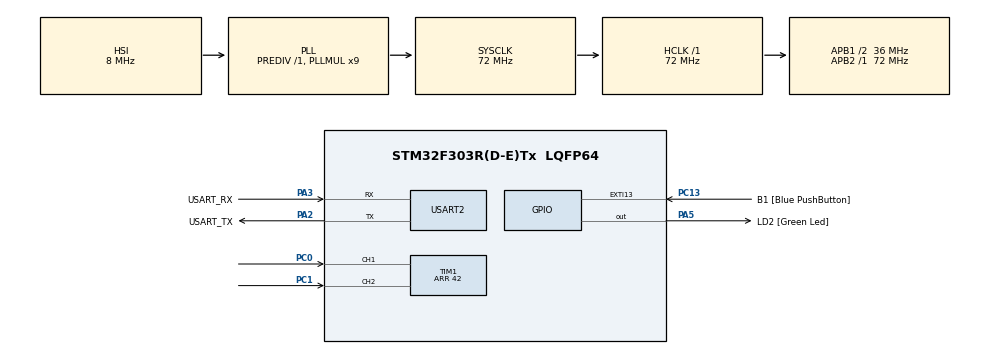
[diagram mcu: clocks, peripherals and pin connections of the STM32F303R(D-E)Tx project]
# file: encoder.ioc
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Mcu.Family=STM32F3
Mcu.Name=STM32F303R(D-E)Tx
Mcu.Package=LQFP64
NVIC.EXTI15_10_IRQn=true\:0\:0\:false\:false\:true\:true
NVIC.PriorityGroup=NVIC_PRIORITYGROUP_0
NVIC.TIM1_CC_IRQn=true\:0\:0\:false\:false\:true\:true
PA13.GPIO_Label=TMS
PA13.Mode=Serial_Wire
PA13.Signal=SYS_JTMS-SWDIO
PA14.GPIO_Label=TCK
PA14.Mode=Serial_Wire
PA14.Signal=SYS_JTCK-SWCLK
PA2.GPIO_Label=USART_TX
PA2.GPIO_Mode=GPIO_MODE_AF_PP
PA2.GPIO_PuPd=GPIO_NOPULL
PA2.GPIO_Speed=GPIO_SPEED_FREQ_LOW
PA2.Mode=Asynchronous
PA2.Signal=USART2_TX
PA3.GPIO_Label=USART_RX
PA3.GPIO_Mode=GPIO_MODE_AF_PP
PA3.GPIO_PuPd=GPIO_NOPULL
PA3.GPIO_Speed=GPIO_SPEED_FREQ_LOW
PA3.Mode=Asynchronous
PA3.Signal=USART2_RX
PA5.GPIO_Label=LD2 [Green Led]
PA5.GPIO_Mode=GPIO_MODE_OUTPUT_PP
PA5.GPIO_PuPd=GPIO_NOPULL
PA5.GPIO_Speed=GPIO_SPEED_FREQ_LOW
PA5.Signal=GPIO_Output
PB3.GPIO_Label=SWO
PB3.Signal=SYS_JTDO-TRACESWO
PC0.GPIO_PuPd=GPIO_PULLUP
PC0.Signal=S_TIM1_CH1
PC1.GPIO_PuPd=GPIO_PULLUP
PC1.Signal=S_TIM1_CH2
PC13.GPIO_Label=B1 [Blue PushButton]
PC13.GPIO_ModeDefaultEXTI=GPIO_MODE_IT_FALLING
PC13.Signal=GPXTI13
PC14-OSC32_IN.Mode=LSE-External-Oscillator
PC14-OSC32_IN.Signal=RCC_OSC32_IN
PC15-OSC32_OUT.Mode=LSE-External-Oscillator
PC15-OSC32_OUT.Signal=RCC_OSC32_OUT
PF0-OSC_IN.Mode=HSE-External-Clock-Source
PF0-OSC_IN.Signal=RCC_OSC_IN
PF1-OSC_OUT.Signal=RCC_OSC_OUT
ProjectManager.HeapSize=0x200
ProjectManager.StackSize=0x400
ProjectManager.TargetToolchain=Makefile
RCC.AHBFreq_Value=72000000
RCC.APB1CLKDivider=RCC_HCLK_DIV2
RCC.APB1Freq_Value=36000000
RCC.APB1TimFreq_Value=72000000
RCC.APB2Freq_Value=72000000
RCC.APB2TimFreq_Value=72000000
RCC.CortexFreq_Value=72000000
RCC.HCLKFreq_Value=72000000
RCC.HSE_VALUE=8000000
RCC.HSI_VALUE=8000000
RCC.PLLM=8
RCC.PLLMUL=RCC_PLL_MUL9
RCC.PLLN=336
RCC.PLLP=RCC_PLLP_DIV4
RCC.PLLQ=7
RCC.RCC_PLLsource_Clock_Source_FROM_HSE=RCC_HSE_PREDIV_DIV2
RCC.SYSCLKFreq_VALUE=72000000
RCC.SYSCLKSourceVirtual=RCC_SYSCLKSOURCE_PLLCLK
RCC.USBFreq_Value=72000000
SH.S_TIM1_CH1.0=TIM1_CH1,Encoder_Interface
SH.S_TIM1_CH2.0=TIM1_CH2,Encoder_Interface
TIM1.EncoderMode=TIM_ENCODERMODE_TI12
TIM1.IC1Filter=1
TIM1.IC2Filter=1
TIM1.Period=42
USART2.VirtualMode-Asynchronous=VM_ASYNC
board=NUCLEO-F303RE

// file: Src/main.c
/**
  ******************************************************************************
  * @file           : main.c
  * @brief          : Main program body
  ******************************************************************************
  ** This notice applies to any and all portions of this file
  * that are not between comment pairs USER CODE BEGIN and
  * USER CODE END. Other portions of this file, whether
  * inserted by the user or by software development tools
  * are owned by their respective copyright owners.
  *
  * COPYRIGHT(c) 2018 STMicroelectronics
  *
  * Redistribution and use in source and binary forms, with or without modification,
  * are permitted provided that the following conditions are met:
  *   1. Redistributions of source code must retain the above copyright notice,
  *      this list of conditions and the following disclaimer.
  *   2. Redistributions in binary form must reproduce the above copyright notice,
  *      this list of conditions and the following disclaimer in the documentation
  *      and/or other materials provided with the distribution.
  *   3. Neither the name of STMicroelectronics nor the names of its contributors
  *      may be used to endorse or promote products derived from this software
  *      without specific prior written permission.
  *
  * THIS SOFTWARE IS PROVIDED BY THE COPYRIGHT HOLDERS AND CONTRIBUTORS "AS IS"
  * AND ANY EXPRESS OR IMPLIED WARRANTIES, INCLUDING, BUT NOT LIMITED TO, THE
  * IMPLIED WARRANTIES OF MERCHANTABILITY AND FITNESS FOR A PARTICULAR PURPOSE ARE
  * DISCLAIMED. IN NO EVENT SHALL THE COPYRIGHT HOLDER OR CONTRIBUTORS BE LIABLE
  * FOR ANY DIRECT, INDIRECT, INCIDENTAL, SPECIAL, EXEMPLARY, OR CONSEQUENTIAL
  * DAMAGES (INCLUDING, BUT NOT LIMITED TO, PROCUREMENT OF SUBSTITUTE GOODS OR
  * SERVICES; LOSS OF USE, DATA, OR PROFITS; OR BUSINESS INTERRUPTION) HOWEVER
  * CAUSED AND ON ANY THEORY OF LIABILITY, WHETHER IN CONTRACT, STRICT LIABILITY,
  * OR TORT (INCLUDING NEGLIGENCE OR OTHERWISE) ARISING IN ANY WAY OUT OF THE USE
  * OF THIS SOFTWARE, EVEN IF ADVISED OF THE POSSIBILITY OF SUCH DAMAGE.
  *
  ******************************************************************************
  */
#include "main.h"
#include "stm32f3xx_hal.h"

TIM_HandleTypeDef htim1;

UART_HandleTypeDef huart2;

/* USER CODE BEGIN PV */
/* Private variables ---------------------------------------------------------*/
typedef struct Encoder_S{
  volatile int last;
  volatile int current;
  volatile int dl;
  volatile int cnt;
}Encoder;

Encoder encoder = (Encoder) {.last = 0, .current = 0, .dl = 0, .cnt = 0};

/* USER CODE END PV */

void SystemClock_Config(void);
static void MX_GPIO_Init(void);
static void MX_USART2_UART_Init(void);
static void MX_TIM1_Init(void);

/* USER CODE BEGIN PFP */
/* Private function prototypes -----------------------------------------------*/
void HAL_TIM_IC_CaptureCallback (TIM_HandleTypeDef *htim)
{
  if(htim->Instance == htim1.Instance)
  {
    HAL_GPIO_TogglePin(LD2_GPIO_Port, LD2_Pin);

    encoder.last = encoder.current;
    encoder.current = htim->Instance->CNT;

    int dl = encoder.current - encoder.last;
    /*
     * current = last+1 : +1
     * current = last : 0
     * current = last-1 : -1
     * current = 0, last = ARR : +1
     * current = ARR, last = 0 : -1
     */
    if(dl > 1){
      dl = -1;
    }else if(dl < -1){
      dl = +1;
    }
    encoder.dl = dl;
    encoder.cnt += dl;
  }
}
/* USER CODE END PFP */

int main(void)
{

  /* MCU Configuration----------------------------------------------------------*/

  /* Reset of all peripherals, Initializes the Flash interface and the Systick. */
  HAL_Init();

  /* Configure the system clock */
  SystemClock_Config();

  /* Initialize all configured peripherals */
  MX_GPIO_Init();
  MX_USART2_UART_Init();
  MX_TIM1_Init();
  /* USER CODE BEGIN 2 */
  HAL_TIM_Encoder_Start_IT(&htim1,TIM_CHANNEL_ALL);
  /* USER CODE END 2 */

  /* Infinite loop */
  while (1)
  {

  }

}

void SystemClock_Config(void)
{

  RCC_OscInitTypeDef RCC_OscInitStruct;
  RCC_ClkInitTypeDef RCC_ClkInitStruct;
  RCC_PeriphCLKInitTypeDef PeriphClkInit;

    /**Initializes the CPU, AHB and APB busses clocks
    */
  RCC_OscInitStruct.OscillatorType = RCC_OSCILLATORTYPE_HSI;
  RCC_OscInitStruct.HSIState = RCC_HSI_ON;
  RCC_OscInitStruct.HSICalibrationValue = 16;
  RCC_OscInitStruct.PLL.PLLState = RCC_PLL_ON;
  RCC_OscInitStruct.PLL.PLLSource = RCC_PLLSOURCE_HSI;
  RCC_OscInitStruct.PLL.PLLMUL = RCC_PLL_MUL9;
  RCC_OscInitStruct.PLL.PREDIV = RCC_PREDIV_DIV1;
  if (HAL_RCC_OscConfig(&RCC_OscInitStruct) != HAL_OK)
  {
    _Error_Handler(__FILE__, __LINE__);
  }

    /**Initializes the CPU, AHB and APB busses clocks
    */
  RCC_ClkInitStruct.ClockType = RCC_CLOCKTYPE_HCLK|RCC_CLOCKTYPE_SYSCLK
                              |RCC_CLOCKTYPE_PCLK1|RCC_CLOCKTYPE_PCLK2;
  RCC_ClkInitStruct.SYSCLKSource = RCC_SYSCLKSOURCE_PLLCLK;
  RCC_ClkInitStruct.AHBCLKDivider = RCC_SYSCLK_DIV1;
  RCC_ClkInitStruct.APB1CLKDivider = RCC_HCLK_DIV2;
  RCC_ClkInitStruct.APB2CLKDivider = RCC_HCLK_DIV1;

  if (HAL_RCC_ClockConfig(&RCC_ClkInitStruct, FLASH_LATENCY_2) != HAL_OK)
  {
    _Error_Handler(__FILE__, __LINE__);
  }

  PeriphClkInit.PeriphClockSelection = RCC_PERIPHCLK_USART2|RCC_PERIPHCLK_TIM1;
  PeriphClkInit.Usart2ClockSelection = RCC_USART2CLKSOURCE_PCLK1;
  PeriphClkInit.Tim1ClockSelection = RCC_TIM1CLK_HCLK;
  if (HAL_RCCEx_PeriphCLKConfig(&PeriphClkInit) != HAL_OK)
  {
    _Error_Handler(__FILE__, __LINE__);
  }

    /**Configure the Systick interrupt time
    */
  HAL_SYSTICK_Config(HAL_RCC_GetHCLKFreq()/1000);

    /**Configure the Systick
    */
  HAL_SYSTICK_CLKSourceConfig(SYSTICK_CLKSOURCE_HCLK);

  /* SysTick_IRQn interrupt configuration */
  HAL_NVIC_SetPriority(SysTick_IRQn, 0, 0);
}

/* TIM1 init function */
static void MX_TIM1_Init(void)
{

  TIM_Encoder_InitTypeDef sConfig;
  TIM_MasterConfigTypeDef sMasterConfig;

  htim1.Instance = TIM1;
  htim1.Init.Prescaler = 0;
  htim1.Init.CounterMode = TIM_COUNTERMODE_UP;
  htim1.Init.Period = 42;
  htim1.Init.ClockDivision = TIM_CLOCKDIVISION_DIV1;
  htim1.Init.RepetitionCounter = 0;
  htim1.Init.AutoReloadPreload = TIM_AUTORELOAD_PRELOAD_DISABLE;
  sConfig.EncoderMode = TIM_ENCODERMODE_TI12;
  sConfig.IC1Polarity = TIM_ICPOLARITY_RISING;
  sConfig.IC1Selection = TIM_ICSELECTION_DIRECTTI;
  sConfig.IC1Prescaler = TIM_ICPSC_DIV1;
  sConfig.IC1Filter = 1;
  sConfig.IC2Polarity = TIM_ICPOLARITY_RISING;
  sConfig.IC2Selection = TIM_ICSELECTION_DIRECTTI;
  sConfig.IC2Prescaler = TIM_ICPSC_DIV1;
  sConfig.IC2Filter = 1;
  if (HAL_TIM_Encoder_Init(&htim1, &sConfig) != HAL_OK)
  {
    _Error_Handler(__FILE__, __LINE__);
  }

  sMasterConfig.MasterOutputTrigger = TIM_TRGO_RESET;
  sMasterConfig.MasterOutputTrigger2 = TIM_TRGO2_RESET;
  sMasterConfig.MasterSlaveMode = TIM_MASTERSLAVEMODE_DISABLE;
  if (HAL_TIMEx_MasterConfigSynchronization(&htim1, &sMasterConfig) != HAL_OK)
  {
    _Error_Handler(__FILE__, __LINE__);
  }

}

/* USART2 init function */
static void MX_USART2_UART_Init(void)
{

  huart2.Instance = USART2;
  huart2.Init.BaudRate = 38400;
  huart2.Init.WordLength = UART_WORDLENGTH_7B;
  huart2.Init.StopBits = UART_STOPBITS_1;
  huart2.Init.Parity = UART_PARITY_NONE;
  huart2.Init.Mode = UART_MODE_TX_RX;
  huart2.Init.HwFlowCtl = UART_HWCONTROL_NONE;
  huart2.Init.OverSampling = UART_OVERSAMPLING_16;
  huart2.Init.OneBitSampling = UART_ONE_BIT_SAMPLE_DISABLE;
  huart2.AdvancedInit.AdvFeatureInit = UART_ADVFEATURE_NO_INIT;
  if (HAL_UART_Init(&huart2) != HAL_OK)
  {
    _Error_Handler(__FILE__, __LINE__);
  }

}

/** Configure pins as
        * Analog
        * Input
        * Output
        * EVENT_OUT
        * EXTI
*/
static void MX_GPIO_Init(void)
{

  GPIO_InitTypeDef GPIO_InitStruct;

  /* GPIO Ports Clock Enable */
  __HAL_RCC_GPIOC_CLK_ENABLE();
  __HAL_RCC_GPIOF_CLK_ENABLE();
  __HAL_RCC_GPIOA_CLK_ENABLE();
  __HAL_RCC_GPIOB_CLK_ENABLE();

  /*Configure GPIO pin Output Level */
  HAL_GPIO_WritePin(LD2_GPIO_Port, LD2_Pin, GPIO_PIN_RESET);

  /*Configure GPIO pin : B1_Pin */
  GPIO_InitStruct.Pin = B1_Pin;
  GPIO_InitStruct.Mode = GPIO_MODE_IT_FALLING;
  GPIO_InitStruct.Pull = GPIO_NOPULL;
  HAL_GPIO_Init(B1_GPIO_Port, &GPIO_InitStruct);

  /*Configure GPIO pin : LD2_Pin */
  GPIO_InitStruct.Pin = LD2_Pin;
  GPIO_InitStruct.Mode = GPIO_MODE_OUTPUT_PP;
  GPIO_InitStruct.Pull = GPIO_NOPULL;
  GPIO_InitStruct.Speed = GPIO_SPEED_FREQ_LOW;
  HAL_GPIO_Init(LD2_GPIO_Port, &GPIO_InitStruct);

  /* EXTI interrupt init*/
  HAL_NVIC_SetPriority(EXTI15_10_IRQn, 0, 0);
  HAL_NVIC_EnableIRQ(EXTI15_10_IRQn);

}

void _Error_Handler(char *file, int line)
{
  while(1)
  {
  }
}

/************************ (C) COPYRIGHT STMicroelectronics *****END OF FILE****/
